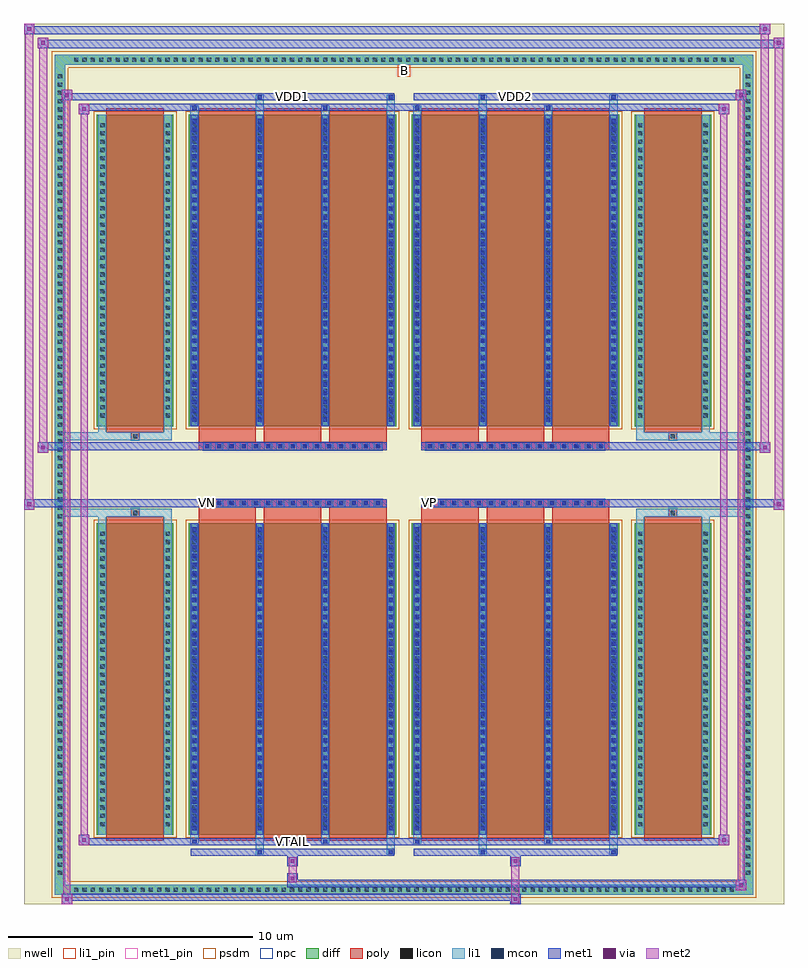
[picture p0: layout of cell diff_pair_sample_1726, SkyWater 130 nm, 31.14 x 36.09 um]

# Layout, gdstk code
import gdstk
lib = gdstk.Library(unit=1e-6, precision=5e-09)
def R(c, l, rs):  # rectangles x0, y0, x1, y1
    for r in rs: c.add(gdstk.rectangle(r[:2], r[2:], *l))
def A(c, l, x, y, w, h, nx, ny, dx, dy):  # array of equal rectangles
    R(c, l, [(x+i*dx, y+j*dy, x+i*dx+w, y+j*dy+h) for i in range(nx) for j in range(ny)])
def P(c, l, *ps):  # polygons
    for p in ps: c.add(gdstk.Polygon(p, *l))
nwell = (64, 20)
diff = (65, 20)
poly = (66, 20)
licon = (66, 44)
li1_pin = (67, 16)
li1 = (67, 20)
mcon = (67, 44)
met1_pin = (68, 16)
met1 = (68, 20)
via = (68, 44)
met2 = (69, 20)
psdm = (94, 20)
npc = (95, 20)

diff_pair_sample_1726 = lib.new_cell('diff_pair_sample_1726')
R(diff_pair_sample_1726, nwell, [(-15.57,-17.61,15.57,18.48), (-12.89,-15.8,-0.01,-0.8), (0.01,-15.8,12.89,-0.8), (-12.89,0.8,-0.01,15.8), (0.01,0.8,12.89,15.8)])
A(diff_pair_sample_1726, diff, -13.635, -17.21, 0.41, 0.41, 80, 2, 0.34, 34.01)
A(diff_pair_sample_1726, diff, -14.3, -16.525, 0.41, 0.41, 1, 97, 0, 0.34)
A(diff_pair_sample_1726, diff, 13.89, -16.525, 0.41, 0.41, 1, 97, 0, 0.34)
R(diff_pair_sample_1726, diff, [(-13.635,-17.21,13.635,-16.8), (-14.3,-16.525,-13.89,16.525), (13.89,-16.525,14.3,16.525), (-12.58,-14.755,-9.45,-1.985), (-8.81,-14.755,-0.32,-1.985), (0.32,-14.755,8.81,-1.985), (9.45,-14.755,12.58,-1.985), (-12.58,1.985,-9.45,14.755), (-8.81,1.985,-0.32,14.755), (0.32,1.985,8.81,14.755), (9.45,1.985,12.58,14.755), (-13.635,16.8,13.635,17.21)])
P(diff_pair_sample_1726, diff, [(14.3,17.21),(-14.3,17.21),(-14.3,-16.8),(-13.89,-16.8),(-13.89,16.8),(13.89,16.8),(13.89,-16.8),(-13.89,-16.8),(-14.3,-16.8),(-14.3,-17.21),(14.3,-17.21)])
A(diff_pair_sample_1726, poly, -8.42, -15.005, 2.35, 13.27, 3, 2, 2.68, 16.74)
A(diff_pair_sample_1726, poly, 0.71, -15.005, 2.35, 13.27, 3, 2, 2.68, 16.74)
A(diff_pair_sample_1726, poly, -8.42, -1.735, 2.35, 0.405, 3, 2, 2.68, 3.065)
A(diff_pair_sample_1726, poly, 0.71, -1.735, 2.35, 0.405, 3, 2, 2.68, 3.065)
A(diff_pair_sample_1726, poly, -8.23, -1.33, 0.33, 0.33, 15, 2, 0.5, 2.33)
A(diff_pair_sample_1726, poly, 0.9, -1.33, 0.33, 0.33, 15, 2, 0.5, 2.33)
R(diff_pair_sample_1726, poly, [(-12.19,-15.005,-9.84,-1.735), (9.84,-15.005,12.19,-1.735), (-11.18,-1.735,-10.85,-1.405), (-11.18,-1.735,-10.85,-1.405), (10.85,-1.735,11.18,-1.405), (10.85,-1.735,11.18,-1.405), (-8.42,-1.33,-0.71,-1), (0.71,-1.33,8.42,-1), (-8.42,1,-0.71,1.33), (0.71,1,8.42,1.33), (-11.18,1.405,-10.85,1.735), (-11.18,1.405,-10.85,1.735), (10.85,1.405,11.18,1.735), (10.85,1.405,11.18,1.735), (-12.19,1.735,-9.84,15.005), (9.84,1.735,12.19,15.005)])
A(diff_pair_sample_1726, licon, -13.515, -17.09, 0.17, 0.17, 80, 2, 0.34, 34.01)
A(diff_pair_sample_1726, licon, -14.18, -16.405, 0.17, 0.17, 1, 97, 0, 0.34)
A(diff_pair_sample_1726, licon, 14.01, -16.405, 0.17, 0.17, 1, 97, 0, 0.34)
A(diff_pair_sample_1726, licon, -12.44, -14.405, 0.17, 0.17, 1, 36, 0, 0.34)
A(diff_pair_sample_1726, licon, -9.76, -14.405, 0.17, 0.17, 1, 36, 0, 0.34)
A(diff_pair_sample_1726, licon, -8.67, -14.405, 0.17, 0.17, 4, 36, 2.68, 0.34)
A(diff_pair_sample_1726, licon, 0.46, -14.405, 0.17, 0.17, 4, 36, 2.68, 0.34)
A(diff_pair_sample_1726, licon, 9.59, -14.405, 0.17, 0.17, 1, 36, 0, 0.34)
A(diff_pair_sample_1726, licon, 12.27, -14.405, 0.17, 0.17, 1, 36, 0, 0.34)
A(diff_pair_sample_1726, licon, -8.15, -1.25, 0.17, 0.17, 15, 2, 0.5, 2.33)
A(diff_pair_sample_1726, licon, 0.98, -1.25, 0.17, 0.17, 15, 2, 0.5, 2.33)
A(diff_pair_sample_1726, licon, -12.44, 2.335, 0.17, 0.17, 1, 36, 0, 0.34)
A(diff_pair_sample_1726, licon, -9.76, 2.335, 0.17, 0.17, 1, 36, 0, 0.34)
A(diff_pair_sample_1726, licon, -8.67, 2.335, 0.17, 0.17, 4, 36, 2.68, 0.34)
A(diff_pair_sample_1726, licon, 0.46, 2.335, 0.17, 0.17, 4, 36, 2.68, 0.34)
A(diff_pair_sample_1726, licon, 9.59, 2.335, 0.17, 0.17, 1, 36, 0, 0.34)
A(diff_pair_sample_1726, licon, 12.27, 2.335, 0.17, 0.17, 1, 36, 0, 0.34)
R(diff_pair_sample_1726, licon, [(-11.1,-1.655,-10.93,-1.485), (10.93,-1.655,11.1,-1.485), (-11.1,1.485,-10.93,1.655), (10.93,1.485,11.1,1.655)])
R(diff_pair_sample_1726, li1_pin, [(-0.25,16.3,0.25,16.8)])
A(diff_pair_sample_1726, li1, -13.595, -17.17, 0.33, 0.33, 80, 2, 0.34, 34.01)
A(diff_pair_sample_1726, li1, -14.26, -16.485, 0.33, 0.33, 1, 97, 0, 0.34)
A(diff_pair_sample_1726, li1, 13.93, -16.485, 0.33, 0.33, 1, 97, 0, 0.34)
A(diff_pair_sample_1726, li1, -8.75, -14.755, 0.33, 12.77, 4, 2, 2.68, 16.74)
A(diff_pair_sample_1726, li1, 0.38, -14.755, 0.33, 12.77, 4, 2, 2.68, 16.74)
A(diff_pair_sample_1726, li1, -8.67, -14.575, 0.17, 0.17, 4, 35, 2.68, 0.36)
A(diff_pair_sample_1726, li1, -8.67, -14.575, 0.17, 12.41, 4, 2, 2.68, 16.74)
A(diff_pair_sample_1726, li1, 0.46, -14.575, 0.17, 0.17, 4, 35, 2.68, 0.36)
A(diff_pair_sample_1726, li1, 0.46, -14.575, 0.17, 12.41, 4, 2, 2.68, 16.74)
A(diff_pair_sample_1726, li1, -12.52, -14.485, 0.33, 0.33, 1, 36, 0, 0.34)
A(diff_pair_sample_1726, li1, -9.84, -14.485, 0.33, 0.33, 1, 36, 0, 0.34)
A(diff_pair_sample_1726, li1, -8.75, -14.485, 0.33, 0.33, 4, 36, 2.68, 0.34)
A(diff_pair_sample_1726, li1, 0.38, -14.485, 0.33, 0.33, 4, 36, 2.68, 0.34)
A(diff_pair_sample_1726, li1, 9.51, -14.485, 0.33, 0.33, 1, 36, 0, 0.34)
A(diff_pair_sample_1726, li1, 12.19, -14.485, 0.33, 0.33, 1, 36, 0, 0.34)
A(diff_pair_sample_1726, li1, -8.23, -1.33, 0.33, 0.33, 15, 2, 0.5, 2.33)
A(diff_pair_sample_1726, li1, 0.9, -1.33, 0.33, 0.33, 15, 2, 0.5, 2.33)
A(diff_pair_sample_1726, li1, -8.67, 2.165, 0.17, 0.17, 4, 35, 2.68, 0.36)
A(diff_pair_sample_1726, li1, 0.46, 2.165, 0.17, 0.17, 4, 35, 2.68, 0.36)
A(diff_pair_sample_1726, li1, -12.52, 2.255, 0.33, 0.33, 1, 36, 0, 0.34)
A(diff_pair_sample_1726, li1, -9.84, 2.255, 0.33, 0.33, 1, 36, 0, 0.34)
A(diff_pair_sample_1726, li1, -8.75, 2.255, 0.33, 0.33, 4, 36, 2.68, 0.34)
A(diff_pair_sample_1726, li1, 0.38, 2.255, 0.33, 0.33, 4, 36, 2.68, 0.34)
A(diff_pair_sample_1726, li1, 9.51, 2.255, 0.33, 0.33, 1, 36, 0, 0.34)
A(diff_pair_sample_1726, li1, 12.19, 2.255, 0.33, 0.33, 1, 36, 0, 0.34)
R(diff_pair_sample_1726, li1, [(-14.3,-17.21,-13.89,-16.8), (-14.3,-17.21,-13.89,-16.8), (-13.89,-17.21,13.89,-16.8), (13.89,-17.21,14.3,-16.8), (13.89,-17.21,14.3,-16.8), (-14.3,-16.8,-13.89,16.8), (13.89,-16.8,14.3,16.8), (-6.07,-15.56,-5.74,-14.755), (-5.99,-15.56,-5.82,-15.39), (-0.71,-15.56,-0.38,-14.755), (-0.63,-15.56,-0.46,-15.39), (3.06,-15.56,3.39,-14.755), (3.14,-15.56,3.31,-15.39), (8.42,-15.56,8.75,-14.755), (8.5,-15.56,8.67,-15.39), (-8.75,-15.13,-8.42,-14.755), (-8.67,-15.13,-8.5,-14.96), (-3.39,-15.13,-3.06,-14.755), (-3.31,-15.13,-3.14,-14.96), (0.38,-15.13,0.71,-14.755), (0.46,-15.13,0.63,-14.96), (5.74,-15.13,6.07,-14.755), (5.82,-15.13,5.99,-14.96), (-12.52,-14.755,-12.19,-1.985), (-9.84,-14.755,-9.51,-1.985), (9.51,-14.755,9.84,-1.985), (12.19,-14.755,12.52,-1.985), (-12.52,-1.985,-12.19,-1.405), (-9.84,-1.985,-9.51,-1.405), (9.51,-1.985,9.84,-1.405), (12.19,-1.985,12.52,-1.405), (-14.3,-1.735,-11.18,-1.405), (-12.52,-1.735,-11.18,-1.405), (-11.18,-1.735,-10.85,-1.405), (-10.85,-1.735,-9.51,-1.405), (9.51,-1.735,10.85,-1.405), (10.85,-1.735,11.18,-1.405), (10.85,-1.735,14.3,-1.405), (11.18,-1.735,12.52,-1.405), (-14.3,1.405,-11.18,1.735), (-12.52,1.405,-11.18,1.735), (-12.52,1.405,-12.19,1.985), (-11.18,1.405,-10.85,1.735), (-10.85,1.405,-9.51,1.735), (-9.84,1.405,-9.51,1.985), (9.51,1.405,10.85,1.735), (9.51,1.405,9.84,1.985), (10.85,1.405,11.18,1.735), (10.85,1.405,14.3,1.735), (11.18,1.405,12.52,1.735), (12.19,1.405,12.52,1.985), (-12.52,1.985,-12.19,14.755), (-9.84,1.985,-9.51,14.755), (9.51,1.985,9.84,14.755), (12.19,1.985,12.52,14.755), (-8.75,14.755,-8.42,15.13), (-6.07,14.755,-5.74,15.56), (-3.39,14.755,-3.06,15.13), (-0.71,14.755,-0.38,15.56), (0.38,14.755,0.71,15.13), (3.06,14.755,3.39,15.56), (5.74,14.755,6.07,15.13), (8.42,14.755,8.75,15.56), (-8.67,14.96,-8.5,15.13), (-3.31,14.96,-3.14,15.13), (0.46,14.96,0.63,15.13), (5.82,14.96,5.99,15.13), (-5.99,15.39,-5.82,15.56), (-0.63,15.39,-0.46,15.56), (3.14,15.39,3.31,15.56), (8.5,15.39,8.67,15.56), (-14.3,16.8,-13.89,17.21), (-14.3,16.8,-13.89,17.21), (-13.89,16.8,13.89,17.21), (13.89,16.8,14.3,17.21), (13.89,16.8,14.3,17.21)])
A(diff_pair_sample_1726, mcon, -8.67, -14.575, 0.17, 0.17, 4, 35, 2.68, 0.36)
A(diff_pair_sample_1726, mcon, 0.46, -14.575, 0.17, 0.17, 4, 35, 2.68, 0.36)
A(diff_pair_sample_1726, mcon, -8.15, -1.25, 0.17, 0.17, 15, 2, 0.5, 2.33)
A(diff_pair_sample_1726, mcon, 0.98, -1.25, 0.17, 0.17, 15, 2, 0.5, 2.33)
A(diff_pair_sample_1726, mcon, -8.67, 2.165, 0.17, 0.17, 4, 35, 2.68, 0.36)
A(diff_pair_sample_1726, mcon, 0.46, 2.165, 0.17, 0.17, 4, 35, 2.68, 0.36)
R(diff_pair_sample_1726, mcon, [(-5.99,-15.56,-5.82,-15.39), (-0.63,-15.56,-0.46,-15.39), (3.14,-15.56,3.31,-15.39), (8.5,-15.56,8.67,-15.39), (-8.67,-15.13,-8.5,-14.96), (-3.31,-15.13,-3.14,-14.96), (0.46,-15.13,0.63,-14.96), (5.82,-15.13,5.99,-14.96), (-8.67,14.96,-8.5,15.13), (-3.31,14.96,-3.14,15.13), (0.46,14.96,0.63,15.13), (5.82,14.96,5.99,15.13), (-5.99,15.39,-5.82,15.56), (-0.63,15.39,-0.46,15.56), (3.14,15.39,3.31,15.56), (8.5,15.39,8.67,15.56)])
R(diff_pair_sample_1726, met1_pin, [(-4.7,-15.17,-4.43,-14.9), (-8.2,-1.29,-7.93,-1.02), (0.93,-1.29,1.2,-1.02), (-4.7,15.35,-4.43,15.62), (4.43,15.35,4.7,15.62)])
A(diff_pair_sample_1726, met1, -8.73, -14.755, 0.29, 12.77, 4, 2, 2.68, 16.74)
A(diff_pair_sample_1726, met1, 0.4, -14.755, 0.29, 12.77, 4, 2, 2.68, 16.74)
A(diff_pair_sample_1726, met1, -8.73, -14.635, 0.29, 0.29, 4, 35, 2.68, 0.36)
A(diff_pair_sample_1726, met1, 0.4, -14.635, 0.29, 0.29, 4, 35, 2.68, 0.36)
A(diff_pair_sample_1726, met1, -8.21, -1.31, 0.29, 0.29, 15, 2, 0.5, 2.33)
A(diff_pair_sample_1726, met1, 0.92, -1.31, 0.29, 0.29, 15, 2, 0.5, 2.33)
A(diff_pair_sample_1726, met1, -8.73, 2.105, 0.29, 0.29, 4, 35, 2.68, 0.36)
A(diff_pair_sample_1726, met1, 0.4, 2.105, 0.29, 0.29, 4, 35, 2.68, 0.36)
R(diff_pair_sample_1726, met1, [(-14.03,-17.61,-13.6,-17.18), (4.35,-17.61,4.78,-17.18), (-14.03,-17.47,4.78,-17.18), (13.6,-17.04,14.03,-16.61), (-4.78,-16.9,14.03,-16.61), (-4.78,-16.76,-4.35,-16.33), (-4.78,-16.05,-4.35,-15.62), (4.35,-16.05,4.78,-15.62), (-8.73,-15.62,-0.4,-15.33), (-6.05,-15.62,-5.76,-15.33), (-0.69,-15.62,-0.4,-15.33), (0.4,-15.62,8.73,-15.33), (3.08,-15.62,3.37,-15.33), (8.44,-15.62,8.73,-15.33), (-13.32,-15.19,-12.89,-14.76), (-13.32,-15.19,-8.73,-14.9), (-8.73,-15.19,-8.44,-14.9), (-8.73,-15.19,-0.4,-14.9), (-3.37,-15.19,-3.08,-14.9), (-0.4,-15.19,0.4,-14.9), (0.4,-15.19,0.69,-14.9), (0.4,-15.19,8.73,-14.9), (5.76,-15.19,6.05,-14.9), (8.73,-15.19,13.32,-14.9), (12.89,-15.19,13.32,-14.76), (-15.57,-1.43,-15.14,-1), (15.14,-1.43,15.57,-1), (-15.57,-1.33,-0.71,-1), (-8.42,-1.33,-0.71,-1), (0.71,-1.33,8.42,-1), (0.71,-1.33,15.57,-1), (-15,0.9,-14.57,1.33), (14.57,0.9,15,1.33), (-15,1,-8.42,1.33), (-8.42,1,-0.71,1.33), (0.71,1,8.42,1.33), (8.42,1,15,1.33), (-13.32,14.76,-12.89,15.19), (12.89,14.76,13.32,15.19), (-13.32,14.9,-8.73,15.19), (-8.73,14.9,-8.44,15.19), (-8.73,14.9,-0.4,15.19), (-3.37,14.9,-3.08,15.19), (-0.4,14.9,0.4,15.19), (0.4,14.9,0.69,15.19), (0.4,14.9,8.73,15.19), (5.76,14.9,6.05,15.19), (8.73,14.9,13.32,15.19), (-14.03,15.33,-13.6,15.76), (-14.03,15.33,-8.73,15.62), (-8.73,15.33,-0.4,15.62), (-6.05,15.33,-5.76,15.62), (-0.69,15.33,-0.4,15.62), (0.4,15.33,8.73,15.62), (3.08,15.33,3.37,15.62), (8.44,15.33,8.73,15.62), (8.73,15.33,14.03,15.62), (13.6,15.33,14.03,15.76), (-15,17.48,-14.57,17.91), (-15,17.48,-12.89,17.81), (-12.89,17.48,12.89,17.81), (12.89,17.48,15.57,17.81), (15.14,17.48,15.57,17.91), (-15.57,18.05,-15.14,18.48), (-15.57,18.05,-12.89,18.38), (-12.89,18.05,12.89,18.38), (12.89,18.05,15,18.38), (14.57,18.05,15,18.48)])
R(diff_pair_sample_1726, via, [(-13.89,-17.47,-13.74,-17.32), (4.49,-17.47,4.64,-17.32), (13.74,-16.9,13.89,-16.75), (-4.64,-16.62,-4.49,-16.47), (-4.64,-15.91,-4.49,-15.76), (4.49,-15.91,4.64,-15.76), (-13.18,-15.05,-13.03,-14.9), (13.03,-15.05,13.18,-14.9), (-15.43,-1.29,-15.28,-1.14), (15.28,-1.29,15.43,-1.14), (-14.86,1.04,-14.71,1.19), (14.71,1.04,14.86,1.19), (-13.18,14.9,-13.03,15.05), (13.03,14.9,13.18,15.05), (-13.89,15.47,-13.74,15.62), (13.74,15.47,13.89,15.62), (-14.86,17.62,-14.71,17.77), (15.28,17.62,15.43,17.77), (-15.43,18.19,-15.28,18.34), (14.71,18.19,14.86,18.34)])
R(diff_pair_sample_1726, met2, [(-14.03,-17.61,-13.6,-17.18), (-13.96,-17.61,-13.67,15.76), (-13.67,-17.61,-13.6,-17.18), (-13.98,-17.56,-13.65,-17.23), (4.4,-17.56,4.73,-17.23), (4.4,-17.23,4.73,-16), (13.6,-17.04,14.03,-16.61), (13.67,-17.04,13.96,15.76), (13.96,-17.04,14.03,-16.61), (13.65,-16.99,13.98,-16.66), (-4.73,-16.71,-4.4,-16.38), (-4.73,-16.38,-4.4,-16), (-4.73,-16,-4.4,-15.67), (4.4,-16,4.73,-15.67), (-13.32,-15.19,-12.89,-14.76), (-13.25,-15.19,-12.96,15.19), (-12.96,-15.19,-12.89,-14.76), (12.89,-15.19,13.32,-14.76), (12.96,-15.19,13.25,15.19), (13.25,-15.19,13.32,-14.76), (-13.27,-15.14,-12.94,-14.81), (12.94,-15.14,13.27,-14.81), (-15.57,-1.43,-15.14,-1), (-15.52,-1.43,-15.19,18.48), (-15.19,-1.43,-15.14,-1), (15.14,-1.43,15.57,-1), (15.19,-1.43,15.52,17.91), (15.52,-1.43,15.57,-1), (-15.52,-1.38,-15.19,-1.05), (15.19,-1.38,15.52,-1.05), (-15,0.9,-14.57,1.33), (-14.95,0.9,-14.62,17.91), (-14.62,0.9,-14.57,1.33), (14.57,0.9,15,1.33), (14.62,0.9,14.95,18.48), (14.95,0.9,15,1.33), (-14.95,0.95,-14.62,1.28), (14.62,0.95,14.95,1.28), (-13.32,14.76,-12.89,15.19), (-12.96,14.76,-12.89,15.19), (12.89,14.76,13.32,15.19), (13.25,14.76,13.32,15.19), (-13.27,14.81,-12.94,15.14), (12.94,14.81,13.27,15.14), (-14.03,15.33,-13.6,15.76), (-13.67,15.33,-13.6,15.76), (13.6,15.33,14.03,15.76), (13.96,15.33,14.03,15.76), (-13.98,15.38,-13.65,15.71), (13.65,15.38,13.98,15.71), (-15,17.48,-14.57,17.91), (-14.62,17.48,-14.57,17.91), (15.14,17.48,15.57,17.91), (15.52,17.48,15.57,17.91), (-14.95,17.53,-14.62,17.86), (15.19,17.53,15.52,17.86), (-15.57,18.05,-15.14,18.48), (-15.19,18.05,-15.14,18.48), (14.57,18.05,15,18.48), (14.95,18.05,15,18.48), (-15.52,18.1,-15.19,18.43), (14.62,18.1,14.95,18.43)])
R(diff_pair_sample_1726, psdm, [(-12.71,-14.885,-9.32,-1.855), (-8.94,-14.885,-0.19,-1.855), (0.19,-14.885,8.94,-1.855), (9.32,-14.885,12.71,-1.855), (-12.71,1.855,-9.32,14.885), (-8.94,1.855,-0.19,14.885), (0.19,1.855,8.94,14.885), (9.32,1.855,12.71,14.885)])
P(diff_pair_sample_1726, psdm, [(14.43,17.34),(-14.43,17.34),(-14.43,-16.67),(-13.76,-16.67),(-13.76,16.67),(13.76,16.67),(13.76,-16.67),(-13.76,-16.67),(-14.43,-16.67),(-14.43,-17.34),(14.43,-17.34)])
A(diff_pair_sample_1726, npc, -8.25, -1.35, 0.37, 0.37, 15, 2, 0.5, 2.33)
A(diff_pair_sample_1726, npc, 0.88, -1.35, 0.37, 0.37, 15, 2, 0.5, 2.33)
R(diff_pair_sample_1726, npc, [(-11.2,-1.755,-10.83,-1.385), (10.83,-1.755,11.2,-1.385), (-8.25,-1.35,-7.38,-0.98), (-8.25,-1.35,-7.38,-0.98), (-7.75,-1.35,-6.88,-0.98), (-7.75,-1.35,-6.88,-0.98), (-7.25,-1.35,-6.38,-0.98), (-7.25,-1.35,-6.38,-0.98), (-6.75,-1.35,-5.88,-0.98), (-6.75,-1.35,-5.88,-0.98), (-6.25,-1.35,-5.38,-0.98), (-6.25,-1.35,-5.38,-0.98), (-5.75,-1.35,-4.88,-0.98), (-5.75,-1.35,-4.88,-0.98), (-5.25,-1.35,-4.38,-0.98), (-5.25,-1.35,-4.38,-0.98), (-4.75,-1.35,-3.88,-0.98), (-4.75,-1.35,-3.88,-0.98), (-4.25,-1.35,-3.38,-0.98), (-4.25,-1.35,-3.38,-0.98), (-3.75,-1.35,-2.88,-0.98), (-3.75,-1.35,-2.88,-0.98), (-3.25,-1.35,-2.38,-0.98), (-3.25,-1.35,-2.38,-0.98), (-2.75,-1.35,-1.88,-0.98), (-2.75,-1.35,-1.88,-0.98), (-2.25,-1.35,-1.38,-0.98), (-2.25,-1.35,-1.38,-0.98), (-1.75,-1.35,-0.88,-0.98), (-1.75,-1.35,-0.88,-0.98), (0.88,-1.35,1.75,-0.98), (0.88,-1.35,1.75,-0.98), (1.38,-1.35,2.25,-0.98), (1.38,-1.35,2.25,-0.98), (1.88,-1.35,2.75,-0.98), (1.88,-1.35,2.75,-0.98), (2.38,-1.35,3.25,-0.98), (2.38,-1.35,3.25,-0.98), (2.88,-1.35,3.75,-0.98), (2.88,-1.35,3.75,-0.98), (3.38,-1.35,4.25,-0.98), (3.38,-1.35,4.25,-0.98), (3.88,-1.35,4.75,-0.98), (3.88,-1.35,4.75,-0.98), (4.38,-1.35,5.25,-0.98), (4.38,-1.35,5.25,-0.98), (4.88,-1.35,5.75,-0.98), (4.88,-1.35,5.75,-0.98), (5.38,-1.35,6.25,-0.98), (5.38,-1.35,6.25,-0.98), (5.88,-1.35,6.75,-0.98), (5.88,-1.35,6.75,-0.98), (6.38,-1.35,7.25,-0.98), (6.38,-1.35,7.25,-0.98), (6.88,-1.35,7.75,-0.98), (6.88,-1.35,7.75,-0.98), (7.38,-1.35,8.25,-0.98), (7.38,-1.35,8.25,-0.98), (-8.25,0.98,-7.38,1.35), (-8.25,0.98,-7.38,1.35), (-7.75,0.98,-6.88,1.35), (-7.75,0.98,-6.88,1.35), (-7.25,0.98,-6.38,1.35), (-7.25,0.98,-6.38,1.35), (-6.75,0.98,-5.88,1.35), (-6.75,0.98,-5.88,1.35), (-6.25,0.98,-5.38,1.35), (-6.25,0.98,-5.38,1.35), (-5.75,0.98,-4.88,1.35), (-5.75,0.98,-4.88,1.35), (-5.25,0.98,-4.38,1.35), (-5.25,0.98,-4.38,1.35), (-4.75,0.98,-3.88,1.35), (-4.75,0.98,-3.88,1.35), (-4.25,0.98,-3.38,1.35), (-4.25,0.98,-3.38,1.35), (-3.75,0.98,-2.88,1.35), (-3.75,0.98,-2.88,1.35), (-3.25,0.98,-2.38,1.35), (-3.25,0.98,-2.38,1.35), (-2.75,0.98,-1.88,1.35), (-2.75,0.98,-1.88,1.35), (-2.25,0.98,-1.38,1.35), (-2.25,0.98,-1.38,1.35), (-1.75,0.98,-0.88,1.35), (-1.75,0.98,-0.88,1.35), (0.88,0.98,1.75,1.35), (0.88,0.98,1.75,1.35), (1.38,0.98,2.25,1.35), (1.38,0.98,2.25,1.35), (1.88,0.98,2.75,1.35), (1.88,0.98,2.75,1.35), (2.38,0.98,3.25,1.35), (2.38,0.98,3.25,1.35), (2.88,0.98,3.75,1.35), (2.88,0.98,3.75,1.35), (3.38,0.98,4.25,1.35), (3.38,0.98,4.25,1.35), (3.88,0.98,4.75,1.35), (3.88,0.98,4.75,1.35), (4.38,0.98,5.25,1.35), (4.38,0.98,5.25,1.35), (4.88,0.98,5.75,1.35), (4.88,0.98,5.75,1.35), (5.38,0.98,6.25,1.35), (5.38,0.98,6.25,1.35), (5.88,0.98,6.75,1.35), (5.88,0.98,6.75,1.35), (6.38,0.98,7.25,1.35), (6.38,0.98,7.25,1.35), (6.88,0.98,7.75,1.35), (6.88,0.98,7.75,1.35), (7.38,0.98,8.25,1.35), (7.38,0.98,8.25,1.35), (-11.2,1.385,-10.83,1.755), (10.83,1.385,11.2,1.755)])
diff_pair_sample_1726.add(gdstk.Label('VTAIL', (-4.565,-15.035), layer=68, texttype=5))
diff_pair_sample_1726.add(gdstk.Label('VN', (-8.065,-1.155), layer=68, texttype=5))
diff_pair_sample_1726.add(gdstk.Label('VP', (1.065,-1.155), layer=68, texttype=5))
diff_pair_sample_1726.add(gdstk.Label('B', (0,16.55), layer=67, texttype=5))
diff_pair_sample_1726.add(gdstk.Label('VDD2', (4.565,15.485), layer=68, texttype=5))
diff_pair_sample_1726.add(gdstk.Label('VDD1', (-4.565,15.485), layer=68, texttype=5))

lib.write_gds('diff_pair_sample_1726.gds')
